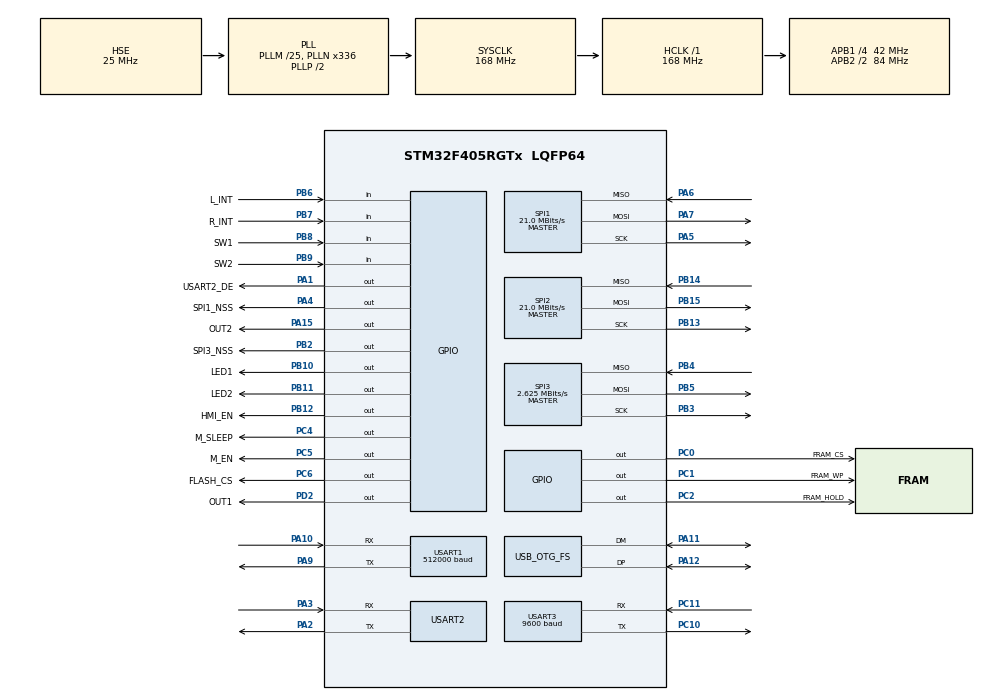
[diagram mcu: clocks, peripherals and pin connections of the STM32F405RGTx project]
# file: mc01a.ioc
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FATFS._CODE_PAGE=936
FATFS._FS_NORTC=1
FATFS._FS_RPATH=0
FATFS._USE_LFN=0
FATFS._USE_STRFUNC=2
FATFS._VOLUMES=1
IWDG.Prescaler=IWDG_PRESCALER_64
IWDG.Reload=1000
Mcu.Family=STM32F4
Mcu.Name=STM32F405RGTx
Mcu.Package=LQFP64
NVIC.FPU_IRQn=true\:2\:0\:true\:false\:true\:false\:true\:false\:true
NVIC.OTG_FS_IRQn=true\:5\:0\:true\:false\:true\:false\:false\:true\:true
NVIC.PriorityGroup=NVIC_PRIORITYGROUP_4
NVIC.TIM1_UP_TIM10_IRQn=true\:15\:0\:true\:false\:true\:false\:false\:true\:true
NVIC.TIM2_IRQn=true\:1\:0\:true\:false\:true\:false\:true\:true\:true
NVIC.TimeBase=TIM1_UP_TIM10_IRQn
NVIC.TimeBaseIP=TIM1
NVIC.USART1_IRQn=true\:0\:0\:true\:false\:true\:false\:true\:true\:true
NVIC.USART3_IRQn=true\:3\:0\:true\:false\:true\:false\:true\:true\:true
PA1.GPIO_Label=USART2_DE
PA1.Signal=GPIO_Output
PA10.Mode=Asynchronous
PA10.Signal=USART1_RX
PA11.Mode=Host_Only
PA11.Signal=USB_OTG_FS_DM
PA12.Mode=Host_Only
PA12.Signal=USB_OTG_FS_DP
PA13.Mode=Serial_Wire
PA13.Signal=SYS_JTMS-SWDIO
PA14.Mode=Serial_Wire
PA14.Signal=SYS_JTCK-SWCLK
PA15.GPIO_Label=OUT2
PA15.PinState=GPIO_PIN_SET
PA15.Signal=GPIO_Output
PA2.Mode=Asynchronous
PA2.Signal=USART2_TX
PA3.Mode=Asynchronous
PA3.Signal=USART2_RX
PA4.GPIO_Label=SPI1_NSS
PA4.PinState=GPIO_PIN_SET
PA4.Signal=GPIO_Output
PA5.Mode=Full_Duplex_Master
PA5.Signal=SPI1_SCK
PA6.Mode=Full_Duplex_Master
PA6.Signal=SPI1_MISO
PA7.Mode=Full_Duplex_Master
PA7.Signal=SPI1_MOSI
PA9.Mode=Asynchronous
PA9.Signal=USART1_TX
PB0.GPIO_Speed=GPIO_SPEED_FREQ_VERY_HIGH
PB0.Signal=S_TIM3_CH3
PB10.GPIO_Label=LED1
PB10.PinState=GPIO_PIN_SET
PB10.Signal=GPIO_Output
PB11.GPIO_Label=LED2
PB11.PinState=GPIO_PIN_SET
PB11.Signal=GPIO_Output
PB12.GPIO_Label=HMI_EN
PB12.GPIO_Speed=GPIO_SPEED_FREQ_LOW
PB12.Signal=GPIO_Output
PB13.Mode=Full_Duplex_Master
PB13.Signal=SPI2_SCK
PB14.Mode=Full_Duplex_Master
PB14.Signal=SPI2_MISO
PB15.Mode=Full_Duplex_Master
PB15.Signal=SPI2_MOSI
PB2.GPIO_Label=SPI3_NSS
PB2.Signal=GPIO_Output
PB3.Mode=Full_Duplex_Master
PB3.Signal=SPI3_SCK
PB4.Mode=Full_Duplex_Master
PB4.Signal=SPI3_MISO
PB5.Mode=Full_Duplex_Master
PB5.Signal=SPI3_MOSI
PB6.GPIO_Label=L_INT
PB6.Signal=GPIO_Input
PB7.GPIO_Label=R_INT
PB7.Signal=GPIO_Input
PB8.GPIO_Label=SW1
PB8.Signal=GPIO_Input
PB9.GPIO_Label=SW2
PB9.Signal=GPIO_Input
PC0.GPIO_Label=FRAM_CS
PC0.GPIO_Speed=GPIO_SPEED_FREQ_VERY_HIGH
PC0.PinState=GPIO_PIN_SET
PC0.Signal=GPIO_Output
PC1.GPIO_Label=FRAM_WP
PC1.PinState=GPIO_PIN_SET
PC1.Signal=GPIO_Output
PC10.Mode=Asynchronous
PC10.Signal=USART3_TX
PC11.Mode=Asynchronous
PC11.Signal=USART3_RX
PC2.GPIO_Label=FRAM_HOLD
PC2.PinState=GPIO_PIN_SET
PC2.Signal=GPIO_Output
PC4.GPIO_Label=M_SLEEP
PC4.PinState=GPIO_PIN_SET
PC4.Signal=GPIO_Output
PC5.GPIO_Label=M_EN
PC5.PinState=GPIO_PIN_SET
PC5.Signal=GPIO_Output
PC6.GPIO_Label=FLASH_CS
PC6.GPIO_Speed=GPIO_SPEED_FREQ_VERY_HIGH
PC6.PinState=GPIO_PIN_SET
PC6.Signal=GPIO_Output
PD2.GPIO_Label=OUT1
PD2.PinState=GPIO_PIN_SET
PD2.Signal=GPIO_Output
PH0-OSC_IN.Mode=HSE-External-Oscillator
PH0-OSC_IN.Signal=RCC_OSC_IN
PH1-OSC_OUT.Mode=HSE-External-Oscillator
PH1-OSC_OUT.Signal=RCC_OSC_OUT
ProjectManager.HeapSize=0x200
ProjectManager.StackSize=0x400
ProjectManager.TargetToolchain=MDK-ARM V5.32
RCC.48MHZClocksFreq_Value=48000000
RCC.AHBFreq_Value=168000000
RCC.APB1CLKDivider=RCC_HCLK_DIV4
RCC.APB1Freq_Value=42000000
RCC.APB1TimFreq_Value=84000000
RCC.APB2CLKDivider=RCC_HCLK_DIV2
RCC.APB2Freq_Value=84000000
RCC.APB2TimFreq_Value=168000000
RCC.CortexFreq_Value=168000000
RCC.HCLKFreq_Value=168000000
RCC.HSE_VALUE=25000000
RCC.HSI_VALUE=16000000
RCC.LSE_VALUE=32768
RCC.PLLM=25
RCC.PLLN=336
RCC.PLLQ=7
RCC.SYSCLKFreq_VALUE=168000000
RCC.SYSCLKSource=RCC_SYSCLKSOURCE_PLLCLK
RCC.VCOOutputFreq_Value=336000000
RealThread.X-CUBE-RT-Thread_Nano.4.1.1.RTAaThreadCcRTOSJjkernel=true
RealThread.X-CUBE-RT-Thread_Nano.4.1.1.RTAaThreadCcRTOSJjlibcpu=true
RealThread.X-CUBE-RT-Thread_Nano.4.1.1.RT_CONSOLEBUF_SIZE=1000
RealThread.X-CUBE-RT-Thread_Nano.4.1.1.RT_MAIN_THREAD_STACK_SIZE=4096
RealThread.X-CUBE-RT-Thread_Nano.4.1.1.RT_USING_CONSOLE=1
RealThread.X-CUBE-RT-Thread_Nano.4.1.1.RT_USING_HEAP=1
RealThread.X-CUBE-RT-Thread_Nano.4.1.1.RT_USING_SMALL_MEM=1
RealThread.X-CUBE-RT-Thread_Nano.4.1.1.RT_USING_SMALL_MEM_AS_HEAP=1
SH.S_TIM3_CH3.0=TIM3_CH3
SPI1.BaudRatePrescaler=SPI_BAUDRATEPRESCALER_4
SPI1.CLKPhase=SPI_PHASE_2EDGE
SPI1.CLKPolarity=SPI_POLARITY_HIGH
SPI1.CalculateBaudRate=21.0 MBits/s
SPI1.Direction=SPI_DIRECTION_2LINES
SPI1.Mode=SPI_MODE_MASTER
SPI1.VirtualType=VM_MASTER
SPI2.BaudRatePrescaler=SPI_BAUDRATEPRESCALER_2
SPI2.CLKPhase=SPI_PHASE_1EDGE
SPI2.CLKPolarity=SPI_POLARITY_LOW
SPI2.CalculateBaudRate=21.0 MBits/s
SPI2.Direction=SPI_DIRECTION_2LINES
SPI2.Mode=SPI_MODE_MASTER
SPI2.VirtualType=VM_MASTER
SPI3.BaudRatePrescaler=SPI_BAUDRATEPRESCALER_16
SPI3.CLKPhase=SPI_PHASE_2EDGE
SPI3.CLKPolarity=SPI_POLARITY_HIGH
SPI3.CalculateBaudRate=2.625 MBits/s
SPI3.Direction=SPI_DIRECTION_2LINES
SPI3.Mode=SPI_MODE_MASTER
SPI3.VirtualType=VM_MASTER
TIM2.AutoReloadPreload=TIM_AUTORELOAD_PRELOAD_ENABLE
TIM2.Period=999
TIM2.Prescaler=84-1
USART1.BaudRate=512000
USART1.VirtualMode=VM_ASYNC
USART2.VirtualMode=VM_ASYNC
USART3.BaudRate=9600
USART3.VirtualMode=VM_ASYNC
USB_HOST.USBH_HandleTypeDef-MSC_FS=hUsbHostFS
USB_HOST.VirtualModeFS=Msc
USB_OTG_FS.VirtualMode=Host_Only
USB_OTG_FS.phy_itface=HCD_PHY_EMBEDDED
VP_FATFS_VS_USB.Mode=USB
VP_IWDG_VS_IWDG.Mode=IWDG_Activate
VP_RealThread.X-CUBE-RT-Thread_Nano_VS_RTOSJjRTAaThread_4.1.1_4.1.1.Mode=RTOSJjRTAaThread
VP_SYS_VS_tim1.Mode=TIM1
VP_TIM2_VS_ClockSourceINT.Mode=Internal
VP_USB_HOST_VS_USB_HOST_MSC_FS.Mode=MSC_FS
board=custom

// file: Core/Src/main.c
/* USER CODE BEGIN Header */
/**
  ******************************************************************************
  * @file           : main.c
  * @brief          : Main program body
  ******************************************************************************
  * @attention
  *
  * Copyright (c) 2025 STMicroelectronics.
  * All rights reserved.
  *
  * This software is licensed under terms that can be found in the LICENSE file
  * in the root directory of this software component.
  * If no LICENSE file comes with this software, it is provided AS-IS.
  *
  ******************************************************************************
  */
/* USER CODE END Header */
#include "main.h"
#include "fatfs.h"
#include "iwdg.h"
#include "spi.h"
#include "tim.h"
#include "usart.h"
#include "usb_host.h"
#include "gpio.h"

/* USER CODE BEGIN Includes */
#include <rtthread.h>
#include "bsp_board.h"
#include "drv_tmc5240.h"
#include "drv_ad7190.h"
#include "svc_export.h"
#include "alg_kalman.h"
#include "svc_hmi.h"
#include "drv_fram.h"
#include "drv_w25q64.h"
#include <math.h>

#include "usb_host.h"
/* USER CODE END Includes */

/* USER CODE BEGIN PTD */
#include "usbh_core.h"
#include "drv_w25q64.h"
// 声明 USB 主机句柄
extern USBH_HandleTypeDef hUsbHostFS;
// 声明应用程序状态变量
extern ApplicationTypeDef Appli_state;
/* USER CODE END PTD */

/* USER CODE BEGIN PD */
#define THREAD_PRIORITY         10
#define THREAD_STACK_SIZE       1024
#define THREAD_TIMESLICE        5

static rt_thread_t task1_tid = RT_NULL;
static rt_thread_t save_data_ing_tid = RT_NULL;
static rt_thread_t hmi_uart_tid = RT_NULL;
static rt_thread_t get_data_tid = RT_NULL;
static rt_thread_t pedal_tid = RT_NULL;
static rt_sem_t dynamic_sem_get = RT_NULL;
/* USER CODE END PD */

/* USER CODE BEGIN PV */
extern uint8_t RxBuffer[1];
extern char buf[60];
/* USER CODE END PV */

void SystemClock_Config(void);
void MX_USB_HOST_Process(void);

/* USER CODE BEGIN PFP */
//void receive_data_parse(void);
//void export_data(void);
/* USER CODE END PFP */

/* USER CODE BEGIN 0 */
extern float x1;
extern int32_t x2;
extern uint8_t x3;
extern float max_val;
uint32_t zero;

uint8_t time_1s = 0;
static void task1(void *parameter)
{
    while (1)
    {
		receive_data_parse();
		if(time_1s++ >= 99)
		{
			time_1s = 0;
			MX_USB_HOST_Process();
			if((Appli_state == APPLICATION_DISCONNECT) || (Appli_state == APPLICATION_IDLE))
			{
				flash_access = 0;
			}
			else
			{
				flash_access = 1;
			}
		}
		rt_thread_mdelay(10);
	}
}

static void hmi_uart(void *parameter)
{
    while (1)
    {
		svc_hmi_tx();
		rt_thread_mdelay(10);
	}
}

// 分段参数（根据你的最新数据重新计算）
#define X0      0.0f      // 实测空载原始读数
#define X100    1096.4f      // 实测空载原始读数
#define X200    219.6f   // 200g 原始读数

#define X500    551200   // 500g 原始读数,50
#define X1000   1098270  // 1000g 原始读数
#define X2000   2210000  // 2000g 原始读数

static void get_data(void *parameter)
{
	static rt_err_t result;
    while (1)
    {
				result = rt_sem_take(dynamic_sem_get, RT_WAITING_FOREVER);
				if(result == RT_EOK)
				{
						x1 = round(x2 / 109.635f);
						x1 /= 10;		//	此时x1单位为g

						if(x1 > max_val)
						{
								max_val = x1;
						}

						calculate_shift(max_val);	//计算当前挡位
						interval_conversion(x1);	//计算曲线图所需数值
						push_sample(x1);	//当前槽放入最新数据
				}
				tx_real = 1;	//发送最新数值
	}
}

static void save_data_ing(void *parameter)
{
	while(1)
	{
		if(export_start == 1)
		{
			while(Appli_state != APPLICATION_READY)
			{
					MX_USB_HOST_Process();
			}
			//挂载文件系统
			Mount_FatFs();

			FIL	file;
			FRESULT res = Create_File(&file);
			//打开/创建文件成功
			if(res == FR_OK)
			{
				//字符串必须有换行符"\n"
				TCHAR strn[]="\n";
				while(export_start == 1)
				{
					if(receive_data_1 == 1)
					{
						receive_data_1 = 0;

						f_puts(save_data, &file);
						f_puts(strn, &file);

						if(Save_Data() == FR_OK)
						{
							sprintf(buf,"click get_list,0\xff\xff\xff");		//获取下一个序号
							HAL_UART_Transmit(&huart1,(uint8_t *)buf,strlen(buf),2000);
						}
					}
					rt_thread_mdelay(5);
				}
				//使用完毕关闭文件
				f_close(&file);
			}
			else
			{
				//printf("Open file error，error code: %d\r\n", res);
			}
		}
		rt_thread_mdelay(100);
	}
}

void pedal_thread_entry(void *parameter)
{
		while(1)
		{
				svc_hmi_pedal_scan();
				rt_thread_mdelay(10);
		}
}

/*定义自己的存储设备*/
/*用户存储设备扇区字节数*/
#define User_Sector 512
/*用户存储设备FatFs对象*/
#define User_FatFs USBHFatFS
/*用户存储设备卷路径*/
#define User_SDPath USBHPath

/* USER CODE END 0 */

int main(void)
{

  /* MCU Configuration--------------------------------------------------------*/

  /* Reset of all peripherals, Initializes the Flash interface and the Systick. */
  HAL_Init();

  /* Configure the system clock */
  SystemClock_Config();

  /* Initialize all configured peripherals */
  MX_GPIO_Init();
  MX_USART1_UART_Init();
  MX_USART2_UART_Init();
  MX_USART3_UART_Init();
  MX_SPI1_Init();
  MX_SPI3_Init();
  MX_FATFS_Init();
  MX_USB_HOST_Init();
  MX_TIM2_Init();
  MX_SPI2_Init();
  MX_IWDG_Init();
  /* USER CODE BEGIN 2 */
		HAL_UART_Receive_IT(&huart1,RxBuffer,1);
		HAL_GPIO_WritePin(HMI_EN_GPIO_Port,HMI_EN_Pin,GPIO_PIN_RESET);

		drv_ad7190_reset();
		drv_ad7190_init();
		alg_kalman_init();
		rt_thread_mdelay(200);
		drv_ad7190_power(1);
		rt_thread_mdelay(200);

		fram_init();
		hmi_res();

		dynamic_sem_get = rt_sem_create("dsem1", 0, RT_IPC_FLAG_PRIO);
		/* 创建线程 1 */
		task1_tid = rt_thread_create("task_1",
																	task1, (void*)1,
																	THREAD_STACK_SIZE,
																	4, THREAD_TIMESLICE);

			if (task1_tid != RT_NULL)
					rt_thread_startup(task1_tid);

						/* 创建线程 2 */
		hmi_uart_tid = rt_thread_create("task_2",
																	hmi_uart, (void*)1,
																	THREAD_STACK_SIZE,
																	THREAD_PRIORITY, THREAD_TIMESLICE);

			if (hmi_uart_tid != RT_NULL)
					rt_thread_startup(hmi_uart_tid);

				/* 创建线程 3 */
		get_data_tid = rt_thread_create("task_3",
																	get_data, (void*)1,
																	1024,
																	THREAD_PRIORITY, THREAD_TIMESLICE);

			if (get_data_tid != RT_NULL)
					rt_thread_startup(get_data_tid);

		/* 创建线程 4 */
		save_data_ing_tid = rt_thread_create("task_4",
																	save_data_ing, (void*)1,
																	2048,
																	5, THREAD_TIMESLICE);

			if (save_data_ing_tid != RT_NULL)
					rt_thread_startup(save_data_ing_tid);

			/* 创建线程 5 */
    pedal_tid = rt_thread_create("pedal",
                                pedal_thread_entry, (void*)1,
                                THREAD_STACK_SIZE,
                                5, THREAD_TIMESLICE);

    if (pedal_tid != RT_NULL)
        rt_thread_startup(pedal_tid);

  /* USER CODE END 2 */

  /* Infinite loop */
  while (1)
  {
    MX_USB_HOST_Process();

    /* USER CODE BEGIN 3 */
		rt_thread_mdelay(500);
		HAL_IWDG_Refresh(&hiwdg);	//喂狗
		HAL_GPIO_TogglePin(LED2_GPIO_Port, LED2_Pin);
  }
  /* USER CODE END 3 */
}

void SystemClock_Config(void)
{
  RCC_OscInitTypeDef RCC_OscInitStruct = {0};
  RCC_ClkInitTypeDef RCC_ClkInitStruct = {0};

  /** Configure the main internal regulator output voltage
  */
  __HAL_RCC_PWR_CLK_ENABLE();
  __HAL_PWR_VOLTAGESCALING_CONFIG(PWR_REGULATOR_VOLTAGE_SCALE1);

  /** Initializes the RCC Oscillators according to the specified parameters
  * in the RCC_OscInitTypeDef structure.
  */
  RCC_OscInitStruct.OscillatorType = RCC_OSCILLATORTYPE_LSI|RCC_OSCILLATORTYPE_HSE;
  RCC_OscInitStruct.HSEState = RCC_HSE_ON;
  RCC_OscInitStruct.LSIState = RCC_LSI_ON;
  RCC_OscInitStruct.PLL.PLLState = RCC_PLL_ON;
  RCC_OscInitStruct.PLL.PLLSource = RCC_PLLSOURCE_HSE;
  RCC_OscInitStruct.PLL.PLLM = 25;
  RCC_OscInitStruct.PLL.PLLN = 336;
  RCC_OscInitStruct.PLL.PLLP = RCC_PLLP_DIV2;
  RCC_OscInitStruct.PLL.PLLQ = 7;
  if (HAL_RCC_OscConfig(&RCC_OscInitStruct) != HAL_OK)
  {
    Error_Handler();
  }

  /** Initializes the CPU, AHB and APB buses clocks
  */
  RCC_ClkInitStruct.ClockType = RCC_CLOCKTYPE_HCLK|RCC_CLOCKTYPE_SYSCLK
                              |RCC_CLOCKTYPE_PCLK1|RCC_CLOCKTYPE_PCLK2;
  RCC_ClkInitStruct.SYSCLKSource = RCC_SYSCLKSOURCE_PLLCLK;
  RCC_ClkInitStruct.AHBCLKDivider = RCC_SYSCLK_DIV1;
  RCC_ClkInitStruct.APB1CLKDivider = RCC_HCLK_DIV4;
  RCC_ClkInitStruct.APB2CLKDivider = RCC_HCLK_DIV2;

  if (HAL_RCC_ClockConfig(&RCC_ClkInitStruct, FLASH_LATENCY_5) != HAL_OK)
  {
    Error_Handler();
  }
}

/* USER CODE BEGIN 4 */
int32_t v_data;
int32_t temp_val;
int32_t mean_val;

uint16_t count1 = 0;

/* USER CODE END 4 */

void HAL_TIM_PeriodElapsedCallback(TIM_HandleTypeDef *htim)
{
  if (htim->Instance == TIM1)
  {
    HAL_IncTick();
  }
  /* USER CODE BEGIN Callback 1 */
		if(htim->Instance == TIM2)
		{
				v_data = drv_ad7190_get_val() - zero;

				if(v_data < 1096*10 && temp_val == 0)	//一轮数据获取中没有超过10g需要进行滤波
				{
						mean_val += v_data;
				}
				else if(v_data > temp_val)		//一轮数据获取中有一次超过10g就取最大值
				{
						temp_val = v_data;
				}
				count1++;
				if(count1 >= it_count)		//根据定时器频率计算读取次数(100ms)
				{
						count1 = 0;
						if(temp_val == 0)	//一轮数据获取中没有超过10g需要进行滤波
						{
								temp_val = mean_val/it_count;		//小于10g取平均值
						}
						else if(temp_val > 1096*5000)			//大于上限值舍去
						{
								temp_val = max_val;
						}

						x2 = temp_val;
						temp_val = 0;
						mean_val = 0;

						rt_sem_release(dynamic_sem_get);	//数值换算
				}
		}

  /* USER CODE END Callback 1 */
}

void Error_Handler(void)
{
  __disable_irq();
  while (1)
  {
  }
}
